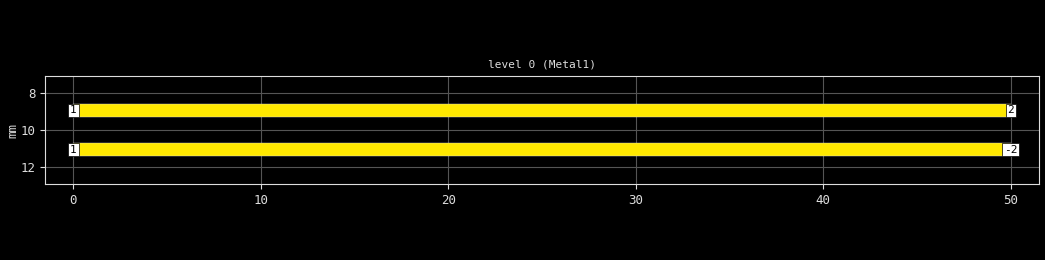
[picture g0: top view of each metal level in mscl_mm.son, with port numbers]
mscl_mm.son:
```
FTYP SONPROJ 19 ! Sonnet Project File
VER 18.53
HEADER
LIC SL63cb3875
DAT 09/16/2023 12:20:35
BUILT_BY_CREATED xgeom 18.53-Lite 09/16/2023 12:12:36
BUILT_BY_SAVED sonnet 18.53-Lite
MDATE 09/16/2023 12:19:20
HDATE 09/16/2023 12:19:20
END HEADER
DIM
ANG DEG
CAP PF
CON /OH
FREQ GHZ
IND NH
LNG MM
RES OH
END DIM
CONTROL
VARSWP
OPTIONS  -d
SPEED 0
CACHE_ABS 2
Q_ACC N
END CONTROL
GEO
TMET "Free Space" 0 FREESPACE 376.7303136 0 0 0
BMET "Lossless" 0 SUP 0 0 0 0
BOX 1 50 20 1000 400 20 0
      10 1 1 0 0 0 0 "Air"
      0.3 3.6 1 0.004 0 0 0 "R-5775KH"
TECHLAY METAL Metal1 <UNSPECIFIED> -2 -65534 
0 0 -1 N 9 1 1 100 100 0 0 0 Y
END
END
LORGN 0 20 U 
POR1 BOX
POLY 23 1
3
1 50 0 0 0 2.143131899e-17 8.95 
POR1 BOX
POLY 23 1
1
2 50 0 0 0 50 8.95 
POR1 BOX
POLY 24 1
3
1 50 0 0 0 0 11.05 
POR1 BOX
POLY 24 1
1
-2 50 0 0 0 50 11.05 
NUM 2
0 5 -1 N 23 1 1 100 100 0 0 0 Y
TLAYNAM Metal1 INH
0 8.6
50 8.6
50 9.3
4.286263797e-17 9.3
0 8.6
END
0 5 -1 N 24 1 1 100 100 0 0 0 Y
TLAYNAM Metal1 INH
0 10.7
50 10.7
50 11.4
0 11.4
0 10.7
END
END GEO
OPT
MAX 100
END OPT
VARSWP
ENABLED Y
FREQ Y AY ABS_ENTRY 0.1 6.0 -1 300 
END
END VARSWP
```
